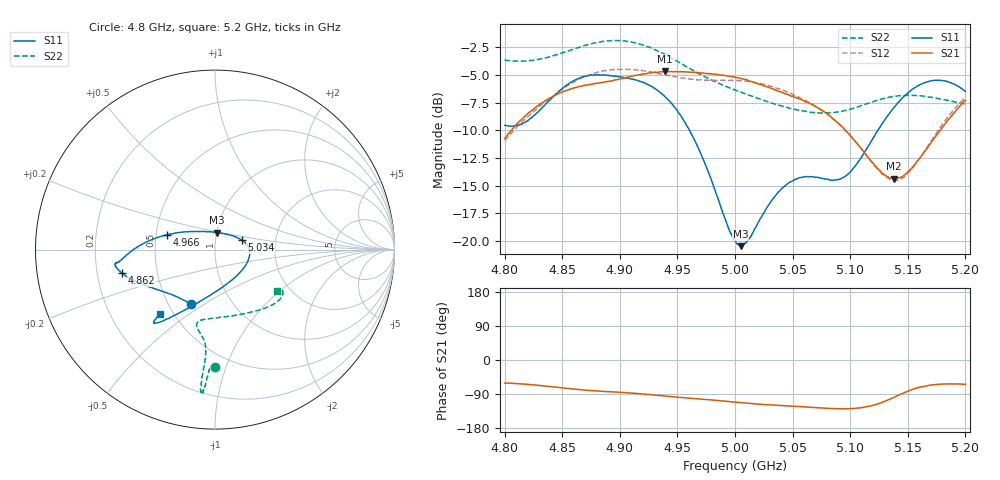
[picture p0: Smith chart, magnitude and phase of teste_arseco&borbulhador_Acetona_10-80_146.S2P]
! Network Analyzer HP8722D
! Hewlett-Packard
! Data name: Linha & Wilkinson
! Saver's name: Rodrigo Anjos
! Comments: Teste da utilização de aquisição
! continua pelo VNA HP8722D
! Time and date: 17/4/2025 15:34
!  Frequency  S11  S21  S12  S22
# HZ  S  MA R 50
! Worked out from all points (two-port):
!   401 points, 4.8 GHz to 5.2 GHz, reference 50 ohm
!   highest |S21| = -4.69 dB at 4.939 GHz (marker M1); lowest = -14.4 dB at 5.138 GHz (marker M2)
!   |S21| within 3 dB of the highest: 4.83 GHz to 5.067 GHz (236.9 MHz wide, 4.79 % of centre); 5.196301 GHz to end of sweep
!   lowest |S11| = -20.5 dB at 5.005 GHz (marker M3), VSWR 1.21, Z = 50.2 + j9.56 ohm
!   |S11| at or under -10 dB: 4.961 GHz to 5.124 GHz (163.6 MHz wide, 3.24 % of centre)
!   |S22| runs from -8.5 to -1.9 dB; largest |S21 - S12| = 0.87
!   S11 on the Smith chart (normalised r, x): 4.8 GHz: 0.65, -0.44; 4.862 GHz: 0.31, -0.11; 4.966 GHz: 0.57, +0.10; 5.034 GHz: 1.34, +0.15; 5.2 GHz: 0.42, -0.39
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4.8e9  0.3334 -113.6  0.2907 -60.8  0.284 -175.0  0.6561 -90.1
4.819e9  0.347 -133.5  0.3714 -64.1  0.3601 -173.7  0.6505 -91.6
4.862e9  0.5353 -165.9  0.4942 -77.1  0.5293 -176.9  0.7415 -93.9
4.867e9  0.5484 -167.8  0.5006 -78.7  0.5443 -177.8  0.7559 -94.1
4.9e9  0.5507 -172.5  0.5387 -85.3  0.5951 175.6  0.8032 -95.4
4.934e9  0.4736 -178.3  0.5782 -93.7  0.5717 171.8  0.7162 -95.8
4.939e9  0.4498 179.5  0.5829 -94.9  0.5641 171.6  0.6962 -95.6
4.952e9  0.3738 172.6  0.5801 -98.7  0.5467 172.2  0.6381 -95.4
4.966e9  0.2777 162.6  0.5767 -102.1  0.535 173.7  0.5801 -95.1
5e9  0.1005 100.4  0.5482 -111.2  0.5319 176.2  0.4804 -99.3
5.005e9  0.09493 83.1  0.542 -112.6  0.5285 176.1  0.47 -100.3
5.012e9  0.1019 60.1  0.529 -114.3  0.5239 175.8  0.456 -101.8
5.034e9  0.1577 20.0  0.4837 -119.3  0.4944 174.8  0.4167 -103.5
5.05e9  0.1869 3.7  0.4512 -122.1  0.4599 174.2  0.3954 -99.5
5.067e9  0.1955 -14.5  0.4131 -125.0  0.4148 173.6  0.381 -90.6
5.086e9  0.1888 -44.6  0.3539 -128.4  0.3531 173.7  0.3805 -76.2
5.097e9  0.1981 -66.9  0.3116 -128.8  0.3122 174.6  0.3901 -67.2
5.134e9  0.3767 -116.7  0.1934 -104.0  0.1904 -157.0  0.4459 -43.0
5.138e9  0.4015 -119.0  0.1914 -98.4  0.1881 -150.5  0.4493 -41.2
5.151e9  0.4707 -124.7  0.2074 -81.1  0.2048 -130.6  0.455 -36.4
5.17e9  0.5284 -129.0  0.2768 -66.2  0.2825 -112.3  0.446 -32.0
5.2e9  0.4733 -130.7  0.4315 -64.4  0.4434 -106.5  0.4148 -33.4
